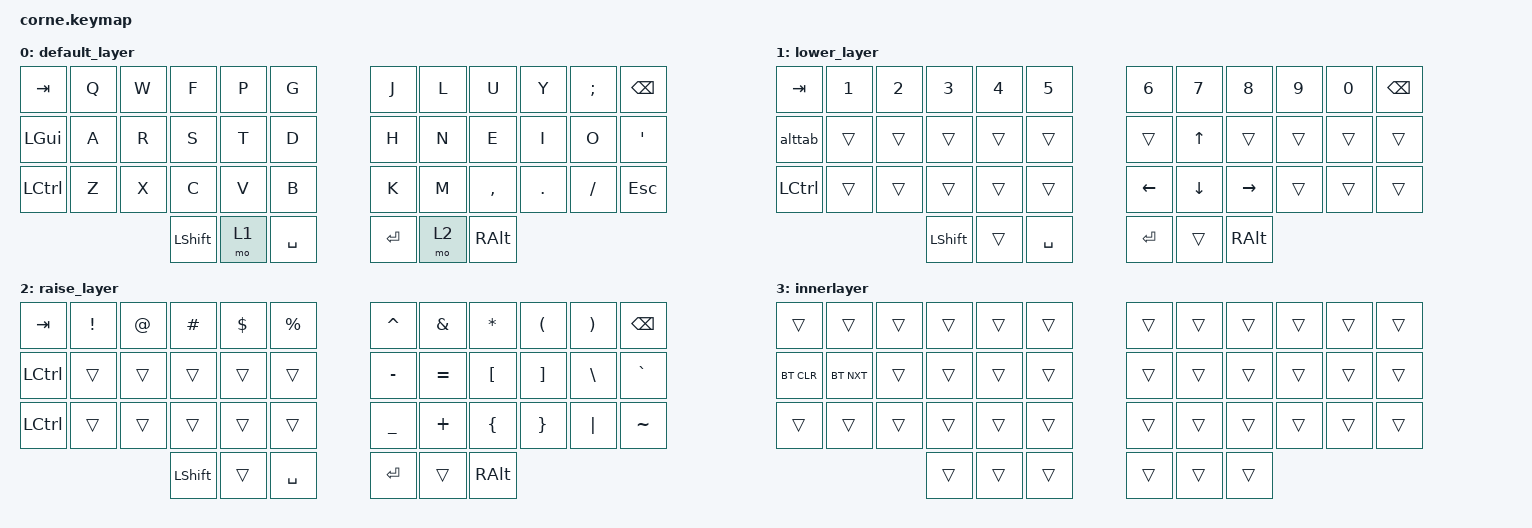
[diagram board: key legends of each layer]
/*
 * Copyright (c) 2020 The ZMK Contributors
 *
 * SPDX-License-Identifier: MIT
 */

#include <behaviors.dtsi>
#include <dt-bindings/zmk/bt.h>
#include <dt-bindings/zmk/keys.h>

/ {
    combos {
        compatible = "zmk,combos";

        innerlayer {
            bindings = <&mo 3>;
            key-positions = <24 37 40 35>;
        };
    };

    macros {
        alttab: alttab {
            compatible = "zmk,behavior-macro";
            #binding-cells = <0>;
            bindings = <&alttab>;
            label = "ALTTAB";
        };
    };

    keymap {
        compatible = "zmk,keymap";

        default_layer {
            // -----------------------------------------------------------------------------------------
            // |  TAB |  Q  |  W  |  F  |  P  |  G  |   |  J  |  L   |  U  |  Y  |  ;  | BSPC |
            // | GUI  |  A  |  R  |  S  |  T  |  D  |   |  H  |  N   |  E  |  I  |  O  |  '   |
            // | CTRL |  Z  |  X  |  C  |  V  |  B  |   |  K  |  M   |  ,  |  .  |  /  | ESC  |
            //                    | LSHFT | LWR | SPC |   | ENT | RSE  | ALT |

            bindings = <
&kp TAB    &kp Q  &kp W  &kp F       &kp P  &kp G        &kp J    &kp L  &kp U      &kp Y    &kp SEMI  &kp BSPC
&kp LGUI   &kp A  &kp R  &kp S       &kp T  &kp D        &kp H    &kp N  &kp E      &kp I    &kp O     &kp SQT
&kp LCTRL  &kp Z  &kp X  &kp C       &kp V  &kp B        &kp K    &kp M  &kp COMMA  &kp DOT  &kp FSLH  &kp ESC
                         &kp LSHIFT  &mo 1  &kp SPACE    &kp RET  &mo 2  &kp RALT
            >;
        };

        lower_layer {
            // -----------------------------------------------------------------------------------------
            // |  TAB |  1  |  2  |  3  |  4  |  5  |   |  6  |  7  |  8  |  9  |  0  | BSPC |
            // | BTCLR| BT1 | BT2 |  	|  	  |  	|   |     | UP  |     |     |     |      |
            // | CTRL |     |     |     |     |     |   |  LFT| DWN |  RGT|     |     |      |
            //                    | LSHFT|     | SPC |   | ENT |     | ALT |

            bindings = <
&kp TAB    &kp N1  &kp N2  &kp N3     &kp N4  &kp N5       &kp N6    &kp N7    &kp N8     &kp N9  &kp N0  &kp BSPC
&alttab    &trans  &trans  &trans     &trans  &trans       &trans    &kp UP    &trans     &trans  &trans  &trans
&kp LCTRL  &trans  &trans  &trans     &trans  &trans       &kp LEFT  &kp DOWN  &kp RIGHT  &trans  &trans  &trans
                           &kp LSHFT  &trans  &kp SPACE    &kp RET   &trans    &kp RALT
            >;
        };

        raise_layer {
            // -----------------------------------------------------------------------------------------
            // |  TAB |  !  |  @  |  #  |  $  |  %  |   |  ^  |  &  |  *  |  (  |  )  | BSPC |
            // | CTRL |     |     |     |     |     |   |  -  |  =  |  [  |  ]  |  \  |  `   |
            // | CTRL |     |     |     |     |     |   |  _  |  +  |  {  |  }  | "|" |  ~   |
            //                    | LSHFT |     | SPC |   | ENT |     | ALT |

            bindings = <
&kp TAB    &kp EXCL  &kp AT  &kp HASH   &kp DLLR  &kp PRCNT    &kp CARET  &kp AMPS   &kp ASTRK  &kp LPAR  &kp RPAR  &kp BSPC
&kp LCTRL  &trans    &trans  &trans     &trans    &trans       &kp MINUS  &kp EQUAL  &kp LBKT   &kp RBKT  &kp BSLH  &kp GRAVE
&kp LCTRL  &trans    &trans  &trans     &trans    &trans       &kp UNDER  &kp PLUS   &kp LBRC   &kp RBRC  &kp PIPE  &kp TILDE
                             &kp LSHFT  &trans    &kp SPACE    &kp RET    &trans     &kp RALT
            >;
        };

        innerlayer {
            bindings = <
&trans      &trans      &trans  &trans  &trans  &trans    &trans  &trans  &trans  &trans  &trans  &trans
&bt BT_CLR  &bt BT_NXT  &trans  &trans  &trans  &trans    &trans  &trans  &trans  &trans  &trans  &trans
&trans      &trans      &trans  &trans  &trans  &trans    &trans  &trans  &trans  &trans  &trans  &trans
                                &trans  &trans  &trans    &trans  &trans  &trans
            >;
        };
    };
};
